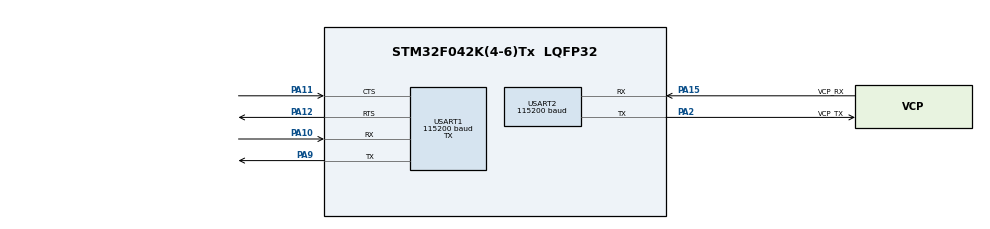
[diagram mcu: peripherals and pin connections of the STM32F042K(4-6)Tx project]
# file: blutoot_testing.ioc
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Mcu.Family=STM32F0
Mcu.Name=STM32F042K(4-6)Tx
Mcu.Package=LQFP32
PA10.Mode=Asynchronous
PA10.Signal=USART1_RX
PA11.Mode=CTS_RTS
PA11.Signal=USART1_CTS
PA12.Mode=CTS_RTS
PA12.Signal=USART1_RTS
PA13.GPIO_Label=SWDIO
PA13.Mode=Serial_Wire
PA13.Signal=SYS_SWDIO
PA14.GPIO_Label=SWCLK
PA14.Mode=Serial_Wire
PA14.Signal=SYS_SWCLK
PA15.GPIO_Label=VCP_RX
PA15.Mode=Asynchronous
PA15.Signal=USART2_RX
PA2.GPIO_Label=VCP_TX
PA2.Mode=Asynchronous
PA2.Signal=USART2_TX
PA9.Mode=Asynchronous
PA9.Signal=USART1_TX
PF0-OSC_IN.GPIO_Label=MCO
PF0-OSC_IN.Mode=HSE-External-Clock-Source
PF0-OSC_IN.Signal=RCC_OSC_IN
ProjectManager.HeapSize=0x200
ProjectManager.StackSize=0x400
ProjectManager.TargetToolchain=STM32CubeIDE
USART1.BaudRate=115200
USART1.Mode=MODE_TX
USART1.OverSampling=UART_OVERSAMPLING_16
USART1.VirtualMode-Asynchronous=VM_ASYNC
USART2.BaudRate=115200
USART2.VirtualMode-Asynchronous=VM_ASYNC
board=NUCLEO-F042K6

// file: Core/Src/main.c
/* USER CODE BEGIN Header */
/**
  ******************************************************************************
  * @file           : main.c
  * @brief          : Main program body
  ******************************************************************************
  * @attention
  *
  * Copyright (c) 2024 STMicroelectronics.
  * All rights reserved.
  *
  * This software is licensed under terms that can be found in the LICENSE file
  * in the root directory of this software component.
  * If no LICENSE file comes with this software, it is provided AS-IS.
  *
  ******************************************************************************
  */
/* USER CODE END Header */
#include "main.h"

UART_HandleTypeDef huart1;
UART_HandleTypeDef huart2;

/* USER CODE BEGIN PV */
uint8_t data[8] = {0xFD, 0x06, 0x00, 0x00, 0x00, 0x00, 0x55, 0xAA};
uint8_t zero[8] = {0xFD, 0x06, 0x00, 0x00, 0x00, 0x00, 0x00, 0x00};
/* USER CODE END PV */

void SystemClock_Config(void);
static void MX_GPIO_Init(void);
static void MX_USART2_UART_Init(void);
static void MX_USART1_UART_Init(void);

/* USER CODE BEGIN 0 */
// Serial debug
#ifdef __GNUC__
  /* With GCC, small printf (option LD Linker->Libraries->Small printf
     set to 'Yes') calls __io_putchar() */
int __io_putchar(int ch)
#else
int fputc(int ch, FILE *f)
#endif /* __GNUC__ */
{
  /* Place your implementation of fputc here */
  /* e.g. write a character to the UART3 and Loop until the end of transmission */
  HAL_UART_Transmit(&huart2, (uint8_t *)&ch, 1, HAL_MAX_DELAY);
  return ch;
}
uint8_t * doll = (uint8_t *)"$$$";
uint8_t * end_mes = (uint8_t *)"---\r";
/* USER CODE END 0 */

int main(void)
{

  /* MCU Configuration--------------------------------------------------------*/

  /* Reset of all peripherals, Initializes the Flash interface and the Systick. */
  HAL_Init();

  /* Configure the system clock */
  SystemClock_Config();

  /* Initialize all configured peripherals */
  MX_GPIO_Init();
  MX_USART2_UART_Init();
  MX_USART1_UART_Init();
  /* USER CODE BEGIN 2 */
  HAL_Delay(600);
  /* USER CODE END 2 */

  /* Infinite loop */
  while (1)
  {

    /* USER CODE BEGIN 3 */

//	  HAL_UART_Transmit(&huart1, doll, sizeof(doll), HAL_MAX_DELAY);
//	  HAL_UART_Transmit(&huart2, doll, sizeof(doll), HAL_MAX_DELAY);
//	  HAL_Delay(2000);
//	  HAL_UART_Transmit(&huart1, end_mes, sizeof(end_mes), HAL_MAX_DELAY);
//	  HAL_UART_Transmit(&huart2, end_mes, sizeof(end_mes), HAL_MAX_DELAY);
//	  HAL_Delay(2000);
	  HAL_UART_Transmit(&huart1, data, sizeof(data), HAL_MAX_DELAY);
	  HAL_Delay(1000);
	  HAL_UART_Transmit(&huart1, zero, sizeof(zero), HAL_MAX_DELAY);
	  HAL_Delay(1000);
  }
  /* USER CODE END 3 */
}

void SystemClock_Config(void)
{
  RCC_OscInitTypeDef RCC_OscInitStruct = {0};
  RCC_ClkInitTypeDef RCC_ClkInitStruct = {0};
  RCC_PeriphCLKInitTypeDef PeriphClkInit = {0};

  /** Initializes the RCC Oscillators according to the specified parameters
  * in the RCC_OscInitTypeDef structure.
  */
  RCC_OscInitStruct.OscillatorType = RCC_OSCILLATORTYPE_HSI;
  RCC_OscInitStruct.HSIState = RCC_HSI_ON;
  RCC_OscInitStruct.HSICalibrationValue = RCC_HSICALIBRATION_DEFAULT;
  RCC_OscInitStruct.PLL.PLLState = RCC_PLL_NONE;
  if (HAL_RCC_OscConfig(&RCC_OscInitStruct) != HAL_OK)
  {
    Error_Handler();
  }

  /** Initializes the CPU, AHB and APB buses clocks
  */
  RCC_ClkInitStruct.ClockType = RCC_CLOCKTYPE_HCLK|RCC_CLOCKTYPE_SYSCLK
                              |RCC_CLOCKTYPE_PCLK1;
  RCC_ClkInitStruct.SYSCLKSource = RCC_SYSCLKSOURCE_HSI;
  RCC_ClkInitStruct.AHBCLKDivider = RCC_SYSCLK_DIV1;
  RCC_ClkInitStruct.APB1CLKDivider = RCC_HCLK_DIV1;

  if (HAL_RCC_ClockConfig(&RCC_ClkInitStruct, FLASH_LATENCY_0) != HAL_OK)
  {
    Error_Handler();
  }
  PeriphClkInit.PeriphClockSelection = RCC_PERIPHCLK_USART1;
  PeriphClkInit.Usart1ClockSelection = RCC_USART1CLKSOURCE_PCLK1;
  if (HAL_RCCEx_PeriphCLKConfig(&PeriphClkInit) != HAL_OK)
  {
    Error_Handler();
  }
}

static void MX_USART1_UART_Init(void)
{

  huart1.Instance = USART1;
  huart1.Init.BaudRate = 115200;
  huart1.Init.WordLength = UART_WORDLENGTH_8B;
  huart1.Init.StopBits = UART_STOPBITS_1;
  huart1.Init.Parity = UART_PARITY_NONE;
  huart1.Init.Mode = UART_MODE_TX;
  huart1.Init.HwFlowCtl = UART_HWCONTROL_RTS_CTS;
  huart1.Init.OverSampling = UART_OVERSAMPLING_16;
  huart1.Init.OneBitSampling = UART_ONE_BIT_SAMPLE_DISABLE;
  huart1.AdvancedInit.AdvFeatureInit = UART_ADVFEATURE_NO_INIT;
  if (HAL_UART_Init(&huart1) != HAL_OK)
  {
    Error_Handler();
  }

}

static void MX_USART2_UART_Init(void)
{

  huart2.Instance = USART2;
  huart2.Init.BaudRate = 115200;
  huart2.Init.WordLength = UART_WORDLENGTH_8B;
  huart2.Init.StopBits = UART_STOPBITS_1;
  huart2.Init.Parity = UART_PARITY_NONE;
  huart2.Init.Mode = UART_MODE_TX_RX;
  huart2.Init.HwFlowCtl = UART_HWCONTROL_NONE;
  huart2.Init.OverSampling = UART_OVERSAMPLING_16;
  huart2.Init.OneBitSampling = UART_ONE_BIT_SAMPLE_DISABLE;
  huart2.AdvancedInit.AdvFeatureInit = UART_ADVFEATURE_NO_INIT;
  if (HAL_UART_Init(&huart2) != HAL_OK)
  {
    Error_Handler();
  }

}

static void MX_GPIO_Init(void)
{

  /* GPIO Ports Clock Enable */
  __HAL_RCC_GPIOF_CLK_ENABLE();
  __HAL_RCC_GPIOA_CLK_ENABLE();

}

void Error_Handler(void)
{
  __disable_irq();
  while (1)
  {
  }
}
